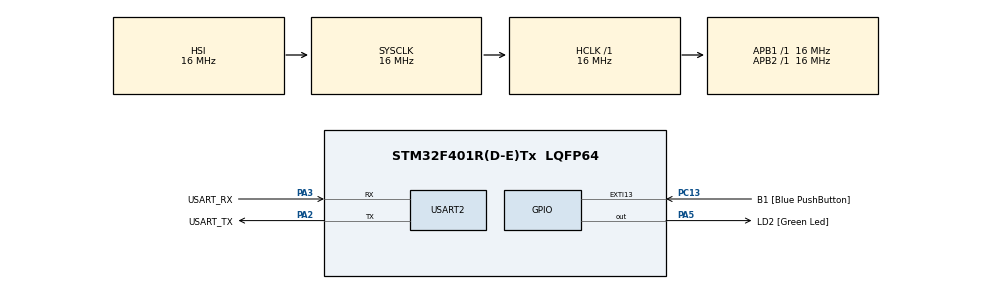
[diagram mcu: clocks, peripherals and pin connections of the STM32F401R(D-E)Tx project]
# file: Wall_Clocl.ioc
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Mcu.Family=STM32F4
Mcu.Name=STM32F401R(D-E)Tx
Mcu.Package=LQFP64
NVIC.PriorityGroup=NVIC_PRIORITYGROUP_4
NVIC.TIM5_IRQn=true\:0\:0\:false\:false\:true\:true\:true\:true
PA13.GPIO_Label=TMS
PA13.Mode=Trace_Asynchronous_SW
PA13.Signal=SYS_JTMS-SWDIO
PA14.GPIO_Label=TCK
PA14.Mode=Trace_Asynchronous_SW
PA14.Signal=SYS_JTCK-SWCLK
PA2.GPIO_Label=USART_TX
PA2.GPIO_Mode=GPIO_MODE_AF_PP
PA2.GPIO_PuPd=GPIO_NOPULL
PA2.GPIO_Speed=GPIO_SPEED_FREQ_LOW
PA2.Mode=Asynchronous
PA2.Signal=USART2_TX
PA3.GPIO_Label=USART_RX
PA3.GPIO_Mode=GPIO_MODE_AF_PP
PA3.GPIO_PuPd=GPIO_NOPULL
PA3.GPIO_Speed=GPIO_SPEED_FREQ_LOW
PA3.Mode=Asynchronous
PA3.Signal=USART2_RX
PA5.GPIO_Label=LD2 [Green Led]
PA5.GPIO_Mode=GPIO_MODE_OUTPUT_PP
PA5.GPIO_PuPd=GPIO_NOPULL
PA5.GPIO_Speed=GPIO_SPEED_FREQ_LOW
PA5.Signal=GPIO_Output
PB3.GPIO_Label=SWO
PB3.Mode=Trace_Asynchronous_SW
PB3.Signal=SYS_JTDO-SWO
PC13-ANTI_TAMP.GPIO_Label=B1 [Blue PushButton]
PC13-ANTI_TAMP.GPIO_ModeDefaultEXTI=GPIO_MODE_IT_FALLING
PC13-ANTI_TAMP.GPIO_PuPd=GPIO_NOPULL
PC13-ANTI_TAMP.Signal=GPXTI13
PC14-OSC32_IN.Mode=LSE-External-Oscillator
PC14-OSC32_IN.Signal=RCC_OSC32_IN
PC15-OSC32_OUT.Mode=LSE-External-Oscillator
PC15-OSC32_OUT.Signal=RCC_OSC32_OUT
PH0\ -\ OSC_IN.Mode=HSE-External-Clock-Source
PH0\ -\ OSC_IN.Signal=RCC_OSC_IN
PH1\ -\ OSC_OUT.Mode=HSE-External-Clock-Source
PH1\ -\ OSC_OUT.Signal=RCC_OSC_OUT
ProjectManager.HeapSize=0x200
ProjectManager.StackSize=0x400
ProjectManager.TargetToolchain=STM32CubeIDE
RCC.48MHZClocksFreq_Value=48000000
RCC.AHBFreq_Value=16000000
RCC.APB1Freq_Value=16000000
RCC.APB1TimFreq_Value=16000000
RCC.APB2Freq_Value=16000000
RCC.APB2TimFreq_Value=16000000
RCC.CortexFreq_Value=16000000
RCC.HCLKFreq_Value=16000000
RCC.HSE_VALUE=8000000
RCC.HSI_VALUE=16000000
RCC.PLLN=336
RCC.PLLP=RCC_PLLP_DIV4
RCC.PLLQ=7
RCC.SYSCLKFreq_VALUE=16000000
RCC.VCOOutputFreq_Value=336000000
TIM5.Period=60000-1
TIM5.Prescaler=53-1
USART2.VirtualMode=VM_ASYNC
VP_TIM5_VS_ClockSourceINT.Mode=Internal
board=NUCLEO-F401RE

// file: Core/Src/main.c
/* USER CODE BEGIN Header */
/**
  ******************************************************************************
  * @file           : main.c
  * @brief          : Main program body
  ******************************************************************************
  * @attention
  *
  * Copyright (c) 2026 STMicroelectronics.
  * All rights reserved.
  *
  * This software is licensed under terms that can be found in the LICENSE file
  * in the root directory of this software component.
  * If no LICENSE file comes with this software, it is provided AS-IS.
  *
  ******************************************************************************
  */
/* USER CODE END Header */
#include "main.h"

/* USER CODE BEGIN Includes */
#include <stdio.h>
#include <string.h>
/* USER CODE END Includes */

TIM_HandleTypeDef htim5;

UART_HandleTypeDef huart2;

/* USER CODE BEGIN PV */
volatile uint8_t clock_hours = 0;
volatile uint8_t clock_mins = 0;
volatile uint8_t wall_clock_hr_update_flag = 0;
uint8_t txd_msg_buffer[64] = {0};
/* USER CODE END PV */

void SystemClock_Config(void);
static void MX_GPIO_Init(void);
static void MX_USART2_UART_Init(void);
static void MX_TIM5_Init(void);

int main(void)
{

  /* MCU Configuration--------------------------------------------------------*/

  /* Reset of all peripherals, Initializes the Flash interface and the Systick. */
  HAL_Init();

  /* Configure the system clock */
  SystemClock_Config();

  /* Initialize all configured peripherals */
  MX_GPIO_Init();
  MX_USART2_UART_Init();
  MX_TIM5_Init();
  /* USER CODE BEGIN 2 */
  HAL_TIM_Base_Start_IT(&htim5);
  clock_hours = 0;
  clock_mins = 0;
  /* USER CODE END 2 */

  /* Infinite loop */
  /* USER CODE BEGIN WHILE */
  while (1)
  {
	  if(wall_clock_hr_update_flag == 1)
	  {
		  wall_clock_hr_update_flag = 0;
		    sprintf((char*)txd_msg_buffer, "CLOCK TIME (REAL)\r\nHOURS   MINS");
			HAL_UART_Transmit(&huart2, txd_msg_buffer, strlen((char*)txd_msg_buffer), 100);
			sprintf((char*)txd_msg_buffer, "  %2u  :  %2u\r\n\r\n", (unsigned)clock_hours, (unsigned)clock_mins);
			HAL_UART_Transmit(&huart2, txd_msg_buffer, strlen((char*)txd_msg_buffer), 100);
	  }
    /* USER CODE END WHILE */

  }
}

void SystemClock_Config(void)
{
  RCC_OscInitTypeDef RCC_OscInitStruct = {0};
  RCC_ClkInitTypeDef RCC_ClkInitStruct = {0};

  /** Configure the main internal regulator output voltage
  */
  __HAL_RCC_PWR_CLK_ENABLE();
  __HAL_PWR_VOLTAGESCALING_CONFIG(PWR_REGULATOR_VOLTAGE_SCALE2);

  /** Initializes the RCC Oscillators according to the specified parameters
  * in the RCC_OscInitTypeDef structure.
  */
  RCC_OscInitStruct.OscillatorType = RCC_OSCILLATORTYPE_HSI;
  RCC_OscInitStruct.HSIState = RCC_HSI_ON;
  RCC_OscInitStruct.HSICalibrationValue = RCC_HSICALIBRATION_DEFAULT;
  RCC_OscInitStruct.PLL.PLLState = RCC_PLL_NONE;
  if (HAL_RCC_OscConfig(&RCC_OscInitStruct) != HAL_OK)
  {
    Error_Handler();
  }

  /** Initializes the CPU, AHB and APB buses clocks
  */
  RCC_ClkInitStruct.ClockType = RCC_CLOCKTYPE_HCLK|RCC_CLOCKTYPE_SYSCLK
                              |RCC_CLOCKTYPE_PCLK1|RCC_CLOCKTYPE_PCLK2;
  RCC_ClkInitStruct.SYSCLKSource = RCC_SYSCLKSOURCE_HSI;
  RCC_ClkInitStruct.AHBCLKDivider = RCC_SYSCLK_DIV1;
  RCC_ClkInitStruct.APB1CLKDivider = RCC_HCLK_DIV1;
  RCC_ClkInitStruct.APB2CLKDivider = RCC_HCLK_DIV1;

  if (HAL_RCC_ClockConfig(&RCC_ClkInitStruct, FLASH_LATENCY_0) != HAL_OK)
  {
    Error_Handler();
  }
}

static void MX_TIM5_Init(void)
{

  TIM_ClockConfigTypeDef sClockSourceConfig = {0};
  TIM_MasterConfigTypeDef sMasterConfig = {0};

  htim5.Instance = TIM5;
  htim5.Init.Prescaler = 53-1;
  htim5.Init.CounterMode = TIM_COUNTERMODE_UP;
  htim5.Init.Period = 60000-1;
  htim5.Init.ClockDivision = TIM_CLOCKDIVISION_DIV1;
  htim5.Init.AutoReloadPreload = TIM_AUTORELOAD_PRELOAD_DISABLE;
  if (HAL_TIM_Base_Init(&htim5) != HAL_OK)
  {
    Error_Handler();
  }
  sClockSourceConfig.ClockSource = TIM_CLOCKSOURCE_INTERNAL;
  if (HAL_TIM_ConfigClockSource(&htim5, &sClockSourceConfig) != HAL_OK)
  {
    Error_Handler();
  }
  sMasterConfig.MasterOutputTrigger = TIM_TRGO_RESET;
  sMasterConfig.MasterSlaveMode = TIM_MASTERSLAVEMODE_DISABLE;
  if (HAL_TIMEx_MasterConfigSynchronization(&htim5, &sMasterConfig) != HAL_OK)
  {
    Error_Handler();
  }

}

static void MX_USART2_UART_Init(void)
{

  huart2.Instance = USART2;
  huart2.Init.BaudRate = 115200;
  huart2.Init.WordLength = UART_WORDLENGTH_8B;
  huart2.Init.StopBits = UART_STOPBITS_1;
  huart2.Init.Parity = UART_PARITY_NONE;
  huart2.Init.Mode = UART_MODE_TX_RX;
  huart2.Init.HwFlowCtl = UART_HWCONTROL_NONE;
  huart2.Init.OverSampling = UART_OVERSAMPLING_16;
  if (HAL_UART_Init(&huart2) != HAL_OK)
  {
    Error_Handler();
  }

}

static void MX_GPIO_Init(void)
{
  GPIO_InitTypeDef GPIO_InitStruct = {0};

  /* GPIO Ports Clock Enable */
  __HAL_RCC_GPIOC_CLK_ENABLE();
  __HAL_RCC_GPIOH_CLK_ENABLE();
  __HAL_RCC_GPIOA_CLK_ENABLE();
  __HAL_RCC_GPIOB_CLK_ENABLE();

  /*Configure GPIO pin Output Level */
  HAL_GPIO_WritePin(LD2_GPIO_Port, LD2_Pin, GPIO_PIN_RESET);

  /*Configure GPIO pin : B1_Pin */
  GPIO_InitStruct.Pin = B1_Pin;
  GPIO_InitStruct.Mode = GPIO_MODE_IT_FALLING;
  GPIO_InitStruct.Pull = GPIO_NOPULL;
  HAL_GPIO_Init(B1_GPIO_Port, &GPIO_InitStruct);

  /*Configure GPIO pin : LD2_Pin */
  GPIO_InitStruct.Pin = LD2_Pin;
  GPIO_InitStruct.Mode = GPIO_MODE_OUTPUT_PP;
  GPIO_InitStruct.Pull = GPIO_NOPULL;
  GPIO_InitStruct.Speed = GPIO_SPEED_FREQ_LOW;
  HAL_GPIO_Init(LD2_GPIO_Port, &GPIO_InitStruct);

}

/* USER CODE BEGIN 4 */
void HAL_TIM_PeriodElapsedCallback(TIM_HandleTypeDef *htim){
	if((htim->Instance == TIM5))
	{
		wall_clock_hr_update_flag = 0;
		clock_mins++;
		if((clock_mins == 60 ))
		{
			clock_hours += 1;
			clock_mins = 0;
		}
		wall_clock_hr_update_flag = 1;
	}
}
/* USER CODE END 4 */

void Error_Handler(void)
{
  __disable_irq();
  while (1)
  {
  }
}
